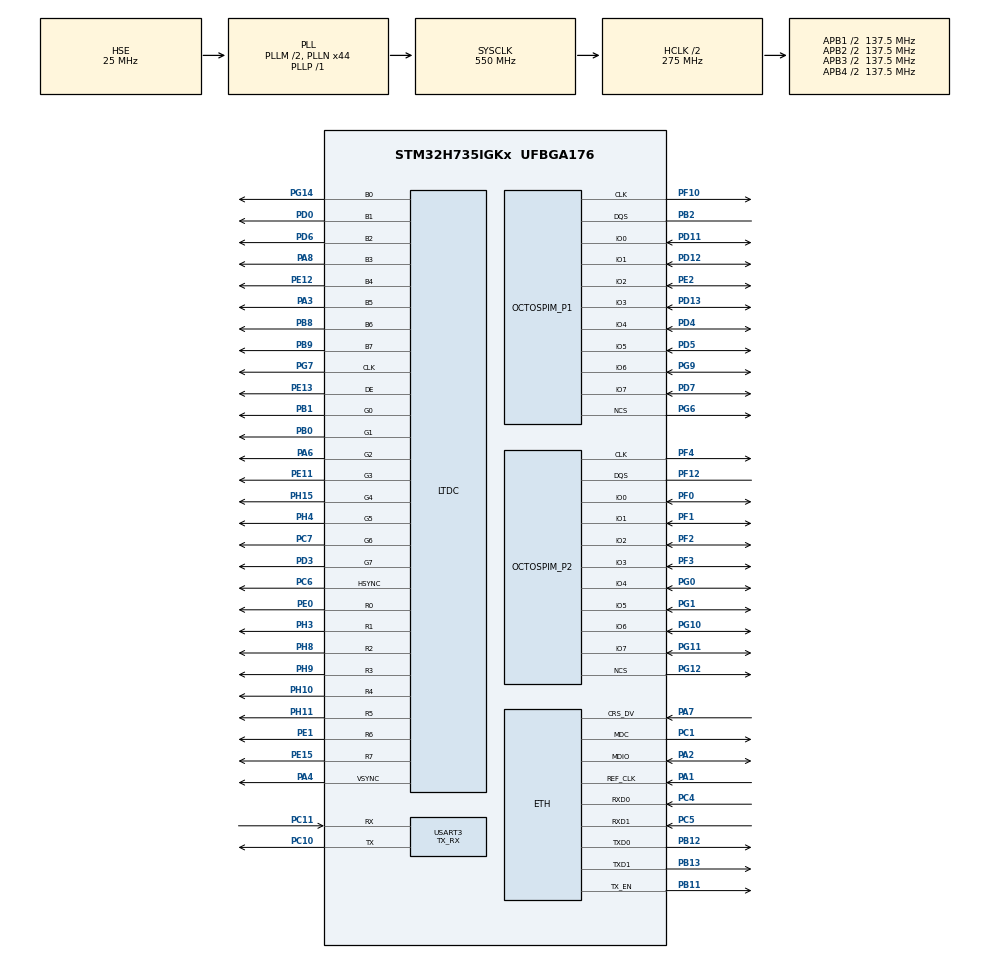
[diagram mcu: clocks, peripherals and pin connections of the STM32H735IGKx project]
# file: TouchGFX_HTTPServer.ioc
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CORTEX_M7.AccessPermission_S-Cortex_Memory_Protection_Unit_Region1_Settings_S=MPU_REGION_FULL_ACCESS
CORTEX_M7.AccessPermission_S-Cortex_Memory_Protection_Unit_Region2_Settings_S=MPU_REGION_FULL_ACCESS
CORTEX_M7.AccessPermission_S-Cortex_Memory_Protection_Unit_Region3_Settings_S=MPU_REGION_FULL_ACCESS
CORTEX_M7.AccessPermission_S-Cortex_Memory_Protection_Unit_Region5_Settings_S=MPU_REGION_FULL_ACCESS
CORTEX_M7.AccessPermission_S-Cortex_Memory_Protection_Unit_Region7_Settings_S=MPU_REGION_FULL_ACCESS
CORTEX_M7.BaseAddress_S-Cortex_Memory_Protection_Unit_Region1_Settings_S=0x30000000
CORTEX_M7.BaseAddress_S-Cortex_Memory_Protection_Unit_Region2_Settings_S=0x30004000
CORTEX_M7.BaseAddress_S-Cortex_Memory_Protection_Unit_Region3_Settings_S=0x24000000
CORTEX_M7.BaseAddress_S-Cortex_Memory_Protection_Unit_Region4_Settings_S=0x70000000
CORTEX_M7.BaseAddress_S-Cortex_Memory_Protection_Unit_Region5_Settings_S=0x70000000
CORTEX_M7.BaseAddress_S-Cortex_Memory_Protection_Unit_Region6_Settings_S=0x90000000
CORTEX_M7.BaseAddress_S-Cortex_Memory_Protection_Unit_Region7_Settings_S=0x90000000
CORTEX_M7.CPU_DCache=Enabled
CORTEX_M7.CPU_ICache=Enabled
CORTEX_M7.DisableExec_S-Cortex_Memory_Protection_Unit_Region3_Settings_S=MPU_INSTRUCTION_ACCESS_DISABLE
CORTEX_M7.DisableExec_S-Cortex_Memory_Protection_Unit_Region4_Settings_S=MPU_INSTRUCTION_ACCESS_DISABLE
CORTEX_M7.DisableExec_S-Cortex_Memory_Protection_Unit_Region5_Settings_S=MPU_INSTRUCTION_ACCESS_DISABLE
CORTEX_M7.DisableExec_S-Cortex_Memory_Protection_Unit_Region6_Settings_S=MPU_INSTRUCTION_ACCESS_DISABLE
CORTEX_M7.Enable_S-Cortex_Memory_Protection_Unit_Region1_Settings_S=MPU_REGION_ENABLE
CORTEX_M7.Enable_S-Cortex_Memory_Protection_Unit_Region2_Settings_S=MPU_REGION_ENABLE
CORTEX_M7.Enable_S-Cortex_Memory_Protection_Unit_Region3_Settings_S=MPU_REGION_ENABLE
CORTEX_M7.Enable_S-Cortex_Memory_Protection_Unit_Region4_Settings_S=MPU_REGION_ENABLE
CORTEX_M7.Enable_S-Cortex_Memory_Protection_Unit_Region5_Settings_S=MPU_REGION_ENABLE
CORTEX_M7.Enable_S-Cortex_Memory_Protection_Unit_Region6_Settings_S=MPU_REGION_ENABLE
CORTEX_M7.Enable_S-Cortex_Memory_Protection_Unit_Region7_Settings_S=MPU_REGION_ENABLE
CORTEX_M7.IsBufferable_S-Cortex_Memory_Protection_Unit_Region1_Settings_S=MPU_ACCESS_BUFFERABLE
CORTEX_M7.IsBufferable_S-Cortex_Memory_Protection_Unit_Region3_Settings_S=MPU_ACCESS_BUFFERABLE
CORTEX_M7.IsBufferable_S-Cortex_Memory_Protection_Unit_Region5_Settings_S=MPU_ACCESS_BUFFERABLE
CORTEX_M7.IsCacheable_S-Cortex_Memory_Protection_Unit_Region3_Settings_S=MPU_ACCESS_CACHEABLE
CORTEX_M7.IsCacheable_S-Cortex_Memory_Protection_Unit_Region5_Settings_S=MPU_ACCESS_CACHEABLE
CORTEX_M7.IsCacheable_S-Cortex_Memory_Protection_Unit_Region7_Settings_S=MPU_ACCESS_CACHEABLE
CORTEX_M7.IsShareable_S-Cortex_Memory_Protection_Unit_Region2_Settings_S=MPU_ACCESS_SHAREABLE
CORTEX_M7.Size_S-Cortex_Memory_Protection_Unit_Region1_Settings_S=MPU_REGION_SIZE_256B
CORTEX_M7.Size_S-Cortex_Memory_Protection_Unit_Region2_Settings_S=MPU_REGION_SIZE_16KB
CORTEX_M7.Size_S-Cortex_Memory_Protection_Unit_Region3_Settings_S=MPU_REGION_SIZE_512KB
CORTEX_M7.Size_S-Cortex_Memory_Protection_Unit_Region4_Settings_S=MPU_REGION_SIZE_512MB
CORTEX_M7.Size_S-Cortex_Memory_Protection_Unit_Region5_Settings_S=MPU_REGION_SIZE_8MB
CORTEX_M7.Size_S-Cortex_Memory_Protection_Unit_Region6_Settings_S=MPU_REGION_SIZE_512MB
CORTEX_M7.Size_S-Cortex_Memory_Protection_Unit_Region7_Settings_S=MPU_REGION_SIZE_64MB
CORTEX_M7.TypeExtField_S-Cortex_Memory_Protection_Unit_Region2_Settings_S=MPU_TEX_LEVEL1
CORTEX_M7.default_mode_Activation=1
DMA2D.ColorMode=DMA2D_OUTPUT_ARGB8888
ETH.MACAddr=00\:08\:E1\:00\:00\:00
ETH.MediaInterface=HAL_ETH_RMII_MODE
ETH.RxBuffLen=1000
FREERTOS.INCLUDE_uxTaskGetStackHighWaterMark2=1
FREERTOS.INCLUDE_vTaskCleanUpResources=1
FREERTOS.Queues01=CounterQueue,16,uint16_t,0,Dynamic,NULL,NULL
FREERTOS.Tasks01=Start,24,256,StartThread,Default,NULL,Dynamic,NULL,NULL;TouchGFXTask,24,1024,TouchGFX_Task,As external,NULL,Dynamic,NULL,NULL
FREERTOS.configENABLE_FPU=1
FREERTOS.configMINIMAL_STACK_SIZE=256
FREERTOS.configTOTAL_HEAP_SIZE=30720
FREERTOS.configUSE_NEWLIB_REENTRANT=1
FREERTOS.configUSE_STATS_FORMATTING_FUNCTIONS=1
LTDC.ActiveH=272
LTDC.ActiveW=480
LTDC.Alpha_L0=255
LTDC.FBStartAdress_L0=0x70000000
LTDC.HBP=13
LTDC.HFP=32
LTDC.HSync=41
LTDC.ImageHeight_L0=272
LTDC.ImageWidth_L0=480
LTDC.Layers=0
LTDC.PixelFormat_L0=LTDC_PIXEL_FORMAT_RGB888
LTDC.VSync=10
LTDC.WindowX1_L0=480
LTDC.WindowY1_L0=272
LWIP.BSP.number=1
LWIP.DEFAULT_THREAD_STACKSIZE=4*512
LWIP.GATEWAY_ADDRESS=192.168.000.001
LWIP.IP_ADDRESS=192.168.000.010
LWIP.LWIP_DHCP=0
LWIP.LWIP_HTTPD=0
LWIP.MEMP_NUM_TCP_PCB=10
LWIP.MEM_SIZE=14*1024
LWIP.NETMASK_ADDRESS=255.255.255.000
LWIP.PBUF_POOL_BUFSIZE=1536
LWIP.TCPIP_THREAD_NAME="TCP/IP"
LWIP.TCPIP_THREAD_STACKSIZE=2*2048
LWIP.TCP_MSS=1460
LWIP.TCP_SND_BUF=5840
LWIP.TCP_SND_QUEUELEN=16
LWIP.TCP_WND=5840
LWIP.Version=v2.1.2_Cube
LWIP0.BSP.STBoard=false
LWIP0.BSP.api=BSP_COMPONENT_DRIVER
LWIP0.BSP.component=LAN8742
LWIP0.BSP.instance=LAN8742
LWIP0.BSP.name=Driver_PHY
LWIP0.BSP.semaphore=S_LAN8742
LWIP0.BSP.solution=LAN8742
Mcu.Family=STM32H7
Mcu.Name=STM32H735IGKx
Mcu.Package=UFBGA176
NVIC.DMA2D_IRQn=true\:5\:0\:false\:false\:true\:true\:true\:true\:true
NVIC.ETH_IRQn=true\:5\:0\:false\:false\:true\:true\:true\:true\:true
NVIC.LTDC_IRQn=true\:5\:0\:false\:false\:true\:true\:true\:true\:true
NVIC.PriorityGroup=NVIC_PRIORITYGROUP_4
NVIC.TIM7_IRQn=true\:15\:0\:false\:false\:true\:false\:false\:true\:true
NVIC.TimeBase=TIM7_IRQn
NVIC.TimeBaseIP=TIM7
OCTOSPI1.ChipSelectHighTime=2
OCTOSPI1.ClockPrescaler=2
OCTOSPI1.FifoThreshold=4
OCTOSPI1.MemoryType=HAL_OSPI_MEMTYPE_MACRONIX
OCTOSPI2.AccessTime=6
OCTOSPI2.ChipSelectBoundary=23
OCTOSPI2.ChipSelectHighTime=4
OCTOSPI2.ClockPrescaler=2
OCTOSPI2.DelayBlockBypass=HAL_OSPI_DELAY_BLOCK_USED
OCTOSPI2.DelayHoldQuarterCycle=HAL_OSPI_DHQC_ENABLE
OCTOSPI2.DeviceSize=24
OCTOSPI2.FifoThreshold=4
OCTOSPI2.LatencyMode=HAL_OSPI_FIXED_LATENCY
OCTOSPI2.RWRecoveryTime=3
OCTOSPI2.Refresh=400
OCTOSPI2.WriteZeroLatency=HAL_OSPI_LATENCY_ON_WRITE
PA1.GPIO_Speed=GPIO_SPEED_FREQ_HIGH
PA1.Mode=RMII
PA1.Signal=ETH_REF_CLK
PA2.GPIO_Speed=GPIO_SPEED_FREQ_HIGH
PA2.Mode=RMII
PA2.Signal=ETH_MDIO
PA3.GPIO_Speed=GPIO_SPEED_FREQ_VERY_HIGH
PA3.Mode=RGB888
PA3.Signal=LTDC_B5
PA4.GPIO_Speed=GPIO_SPEED_FREQ_VERY_HIGH
PA4.Mode=RGB888
PA4.Signal=LTDC_VSYNC
PA6.GPIO_Speed=GPIO_SPEED_FREQ_VERY_HIGH
PA6.Mode=RGB888
PA6.Signal=LTDC_G2
PA7.GPIO_Speed=GPIO_SPEED_FREQ_HIGH
PA7.Mode=RMII
PA7.Signal=ETH_CRS_DV
PA8.GPIO_Speed=GPIO_SPEED_FREQ_VERY_HIGH
PA8.Mode=RGB888
PA8.Signal=LTDC_B3
PB0.GPIO_Speed=GPIO_SPEED_FREQ_VERY_HIGH
PB0.Mode=RGB888
PB0.Signal=LTDC_G1
PB1.GPIO_Speed=GPIO_SPEED_FREQ_VERY_HIGH
PB1.Mode=RGB888
PB1.Signal=LTDC_G0
PB11.GPIO_Speed=GPIO_SPEED_FREQ_HIGH
PB11.Mode=RMII
PB11.Signal=ETH_TX_EN
PB12.GPIO_Speed=GPIO_SPEED_FREQ_HIGH
PB12.Mode=RMII
PB12.Signal=ETH_TXD0
PB13.GPIO_Speed=GPIO_SPEED_FREQ_HIGH
PB13.Mode=RMII
PB13.Signal=ETH_TXD1
PB2.Mode=OCTOSPI1_Port1_DQS
PB2.Signal=OCTOSPIM_P1_DQS
PB8.GPIO_Speed=GPIO_SPEED_FREQ_VERY_HIGH
PB8.Mode=RGB888
PB8.Signal=LTDC_B6
PB9.GPIO_Speed=GPIO_SPEED_FREQ_VERY_HIGH
PB9.Mode=RGB888
PB9.Signal=LTDC_B7
PC1.GPIO_Speed=GPIO_SPEED_FREQ_HIGH
PC1.Mode=RMII
PC1.Signal=ETH_MDC
PC10.GPIO_Speed=GPIO_SPEED_FREQ_HIGH
PC10.Mode=Asynchronous
PC10.Signal=USART3_TX
PC11.GPIO_Speed=GPIO_SPEED_FREQ_HIGH
PC11.Mode=Asynchronous
PC11.Signal=USART3_RX
PC4.GPIO_Speed=GPIO_SPEED_FREQ_HIGH
PC4.Mode=RMII
PC4.Signal=ETH_RXD0
PC5.GPIO_Speed=GPIO_SPEED_FREQ_HIGH
PC5.Mode=RMII
PC5.Signal=ETH_RXD1
PC6.GPIO_Speed=GPIO_SPEED_FREQ_VERY_HIGH
PC6.Mode=RGB888
PC6.Signal=LTDC_HSYNC
PC7.GPIO_Speed=GPIO_SPEED_FREQ_VERY_HIGH
PC7.Mode=RGB888
PC7.Signal=LTDC_G6
PD0.GPIO_Speed=GPIO_SPEED_FREQ_VERY_HIGH
PD0.Mode=RGB888
PD0.Signal=LTDC_B1
PD11.Mode=OCTOSPI1_IOL_Port1L
PD11.Signal=OCTOSPIM_P1_IO0
PD12.Mode=OCTOSPI1_IOL_Port1L
PD12.Signal=OCTOSPIM_P1_IO1
PD13.Mode=OCTOSPI1_IOL_Port1L
PD13.Signal=OCTOSPIM_P1_IO3
PD3.GPIO_Speed=GPIO_SPEED_FREQ_VERY_HIGH
PD3.Mode=RGB888
PD3.Signal=LTDC_G7
PD4.Mode=OCTOSPI1_IOH_Port1H
PD4.Signal=OCTOSPIM_P1_IO4
PD5.Mode=OCTOSPI1_IOH_Port1H
PD5.Signal=OCTOSPIM_P1_IO5
PD6.GPIO_Speed=GPIO_SPEED_FREQ_VERY_HIGH
PD6.Mode=RGB888
PD6.Signal=LTDC_B2
PD7.Mode=OCTOSPI1_IOH_Port1H
PD7.Signal=OCTOSPIM_P1_IO7
PE0.GPIO_Speed=GPIO_SPEED_FREQ_VERY_HIGH
PE0.Mode=RGB888
PE0.Signal=LTDC_R0
PE1.GPIO_Speed=GPIO_SPEED_FREQ_VERY_HIGH
PE1.Mode=RGB888
PE1.Signal=LTDC_R6
PE11.GPIO_Speed=GPIO_SPEED_FREQ_VERY_HIGH
PE11.Mode=RGB888
PE11.Signal=LTDC_G3
PE12.GPIO_Speed=GPIO_SPEED_FREQ_VERY_HIGH
PE12.Mode=RGB888
PE12.Signal=LTDC_B4
PE13.GPIO_Speed=GPIO_SPEED_FREQ_VERY_HIGH
PE13.Mode=RGB888
PE13.Signal=LTDC_DE
PE15.GPIO_Speed=GPIO_SPEED_FREQ_VERY_HIGH
PE15.Mode=RGB888
PE15.Signal=LTDC_R7
PE2.Mode=OCTOSPI1_IOL_Port1L
PE2.Signal=OCTOSPIM_P1_IO2
PF0.Mode=OCTOSPI2_IOL_Port2L
PF0.Signal=OCTOSPIM_P2_IO0
PF1.Mode=OCTOSPI2_IOL_Port2L
PF1.Signal=OCTOSPIM_P2_IO1
PF10.Mode=O1_P1_CLK
PF10.Signal=OCTOSPIM_P1_CLK
PF12.Mode=OCTOSPI2_Port2_DQS
PF12.Signal=OCTOSPIM_P2_DQS
PF2.Mode=OCTOSPI2_IOL_Port2L
PF2.Signal=OCTOSPIM_P2_IO2
PF3.Mode=OCTOSPI2_IOL_Port2L
PF3.Signal=OCTOSPIM_P2_IO3
PF4.Mode=O2_P2_CLK
PF4.Signal=OCTOSPIM_P2_CLK
PG0.Mode=OCTOSPI2_IOH_Port2H
PG0.Signal=OCTOSPIM_P2_IO4
PG1.Mode=OCTOSPI2_IOH_Port2H
PG1.Signal=OCTOSPIM_P2_IO5
PG10.Mode=OCTOSPI2_IOH_Port2H
PG10.Signal=OCTOSPIM_P2_IO6
PG11.Mode=OCTOSPI2_IOH_Port2H
PG11.Signal=OCTOSPIM_P2_IO7
PG12.Mode=OCTOSPI2_Port2_NCS
PG12.Signal=OCTOSPIM_P2_NCS
PG14.GPIO_Speed=GPIO_SPEED_FREQ_VERY_HIGH
PG14.Mode=RGB888
PG14.Signal=LTDC_B0
PG6.Mode=OCTOSPI1_Port1_NCS
PG6.Signal=OCTOSPIM_P1_NCS
PG7.GPIO_Speed=GPIO_SPEED_FREQ_VERY_HIGH
PG7.Mode=RGB888
PG7.Signal=LTDC_CLK
PG9.Mode=OCTOSPI1_IOH_Port1H
PG9.Signal=OCTOSPIM_P1_IO6
PH0-OSC_IN.Mode=HSE-External-Clock-Source
PH0-OSC_IN.Signal=RCC_OSC_IN
PH10.GPIO_Speed=GPIO_SPEED_FREQ_VERY_HIGH
PH10.Mode=RGB888
PH10.Signal=LTDC_R4
PH11.GPIO_Speed=GPIO_SPEED_FREQ_VERY_HIGH
PH11.Mode=RGB888
PH11.Signal=LTDC_R5
PH15.GPIO_Speed=GPIO_SPEED_FREQ_VERY_HIGH
PH15.Mode=RGB888
PH15.Signal=LTDC_G4
PH3.GPIO_Speed=GPIO_SPEED_FREQ_VERY_HIGH
PH3.Mode=RGB888
PH3.Signal=LTDC_R1
PH4.GPIO_Speed=GPIO_SPEED_FREQ_VERY_HIGH
PH4.Mode=RGB888
PH4.Signal=LTDC_G5
PH8.GPIO_Speed=GPIO_SPEED_FREQ_VERY_HIGH
PH8.Mode=RGB888
PH8.Signal=LTDC_R2
PH9.GPIO_Speed=GPIO_SPEED_FREQ_VERY_HIGH
PH9.Mode=RGB888
PH9.Signal=LTDC_R3
ProjectManager.HeapSize=0x1000
ProjectManager.StackSize=0x1000
ProjectManager.TargetToolchain=STM32CubeIDE
RCC.ADCFreq_Value=200000000
RCC.APB1Freq_Value=137500000
RCC.APB2Freq_Value=137500000
RCC.APB3Freq_Value=137500000
RCC.APB4Freq_Value=137500000
RCC.CortexFreq_Value=550000000
RCC.D1PPRE=RCC_APB3_DIV2
RCC.D2PPRE1=RCC_APB1_DIV2
RCC.D2PPRE2=RCC_APB2_DIV2
RCC.D3PPRE=RCC_APB4_DIV2
RCC.DIVM1=2
RCC.DIVM2=5
RCC.DIVM3=25
RCC.DIVN1=44
RCC.DIVN2=80
RCC.DIVN3=288
RCC.DIVP1=1
RCC.DIVR3=30
RCC.HCLKFreq_Value=275000000
RCC.HPRE=RCC_HCLK_DIV2
RCC.PLLSourceVirtual=RCC_PLLSOURCE_HSE
RCC.QSPICLockSelection=RCC_OSPICLKSOURCE_PLL2
RCC.SYSCLKFreq_VALUE=550000000
RCC.SYSCLKSource=RCC_SYSCLKSOURCE_PLLCLK
RCC.USBFreq_Value=275000000
STMicroelectronics.X-CUBE-TOUCHGFX.4.24.1.ApplicationCcGraphicsJjApplication=TouchGFXOoGenerator
STMicroelectronics.X-CUBE-TOUCHGFX.4.24.1.tgfx_buffering_strategy=Double
STMicroelectronics.X-CUBE-TOUCHGFX.4.24.1.tgfx_display_interface=disp_ltdc
STMicroelectronics.X-CUBE-TOUCHGFX.4.24.1.tgfx_hardware_accelerator=dma_2d
STMicroelectronics.X-CUBE-TOUCHGFX.4.24.1.tgfx_vsync=vsync_ltdc
STMicroelectronics.X-CUBE-TOUCHGFX.4.24.1_IsPackSelfContextualization=true
USART3.Mode=MODE_TX_RX
USART3.VirtualMode-Asynchronous=VM_ASYNC
VP_CRC_VS_CRC.Mode=CRC_Activate
VP_DMA2D_VS_DMA2D.Mode=DMA2D_Activate
VP_FREERTOS_VS_CMSIS_V2.Mode=CMSIS_V2
VP_LWIP_VS_Enabled.Mode=Enabled
VP_MEMORYMAP_VS_MEMORYMAP.Mode=CurAppReg
VP_OCTOSPI1_VS_octo.Mode=octo_mode
VP_OCTOSPI2_VS_octo.Mode=hyperbus_mode
VP_STMicroelectronics.X-CUBE-TOUCHGFX_VS_GraphicsJjApplication_4.24.1.Mode=GraphicsJjApplication
VP_SYS_VS_tim7.Mode=TIM7
board=custom

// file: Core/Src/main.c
/* USER CODE BEGIN Header */
/**
  ******************************************************************************
  * @file           : main.c
  * @brief          : Main program body
  ******************************************************************************
  * @attention
  *
  * Copyright (c) 2024 STMicroelectronics.
  * All rights reserved.
  *
  * This software is licensed under terms that can be found in the LICENSE file
  * in the root directory of this software component.
  * If no LICENSE file comes with this software, it is provided AS-IS.
  *
  ******************************************************************************
  */
/* USER CODE END Header */
#include "main.h"
#include "cmsis_os.h"
#include "crc.h"
#include "dma2d.h"
#include "ltdc.h"
#include "lwip.h"
#include "memorymap.h"
#include "octospi.h"
#include "usart.h"
#include "gpio.h"
#include "app_touchgfx.h"

void SystemClock_Config(void);
void PeriphCommonClock_Config(void);
static void MPU_Config(void);
void MX_FREERTOS_Init(void);
/* USER CODE BEGIN PFP */
#if defined(__ICCARM__)
/* New definition from EWARM V9, compatible with EWARM8 */
int iar_fputc(int ch);
#define PUTCHAR_PROTOTYPE int iar_fputc(int ch)
#elif defined ( __CC_ARM ) || defined(__ARMCC_VERSION)
/* ARM Compiler 5/6*/
#define PUTCHAR_PROTOTYPE int fputc(int ch, FILE *f)
#elif defined(__GNUC__)
#define PUTCHAR_PROTOTYPE int __io_putchar(int ch)
#endif /* __ICCARM__ */
/* USER CODE END PFP */

int main(void)
{

  /* MPU Configuration--------------------------------------------------------*/
  MPU_Config();

  /* Enable the CPU Cache */

  /* Enable I-Cache---------------------------------------------------------*/
  SCB_EnableICache();

  /* Enable D-Cache---------------------------------------------------------*/
  SCB_EnableDCache();

  /* MCU Configuration--------------------------------------------------------*/

  /* Reset of all peripherals, Initializes the Flash interface and the Systick. */
  HAL_Init();

  /* Configure the system clock */
  SystemClock_Config();

  /* Configure the peripherals common clocks */
  PeriphCommonClock_Config();

  /* Initialize all configured peripherals */
  MX_GPIO_Init();
  MX_USART3_UART_Init();
  MX_DMA2D_Init();
  MX_LTDC_Init();
  MX_OCTOSPI1_Init();
  MX_OCTOSPI2_Init();
  MX_CRC_Init();
  MX_TouchGFX_Init();
  /* Call PreOsInit function */
  MX_TouchGFX_PreOSInit();

  /* Init scheduler */
  osKernelInitialize();

  /* Call init function for freertos objects (in cmsis_os2.c) */
  MX_FREERTOS_Init();

  /* Start scheduler */
  osKernelStart();

  /* We should never get here as control is now taken by the scheduler */

  /* Infinite loop */
  while (1)
  {

  }
}

void SystemClock_Config(void)
{
  RCC_OscInitTypeDef RCC_OscInitStruct = {0};
  RCC_ClkInitTypeDef RCC_ClkInitStruct = {0};

  /** Supply configuration update enable
  */
  HAL_PWREx_ConfigSupply(PWR_DIRECT_SMPS_SUPPLY);

  /** Configure the main internal regulator output voltage
  */
  __HAL_PWR_VOLTAGESCALING_CONFIG(PWR_REGULATOR_VOLTAGE_SCALE0);

  while(!__HAL_PWR_GET_FLAG(PWR_FLAG_VOSRDY)) {}

  /** Initializes the RCC Oscillators according to the specified parameters
  * in the RCC_OscInitTypeDef structure.
  */
  RCC_OscInitStruct.OscillatorType = RCC_OSCILLATORTYPE_HSE;
  RCC_OscInitStruct.HSEState = RCC_HSE_BYPASS;
  RCC_OscInitStruct.PLL.PLLState = RCC_PLL_ON;
  RCC_OscInitStruct.PLL.PLLSource = RCC_PLLSOURCE_HSE;
  RCC_OscInitStruct.PLL.PLLM = 2;
  RCC_OscInitStruct.PLL.PLLN = 44;
  RCC_OscInitStruct.PLL.PLLP = 1;
  RCC_OscInitStruct.PLL.PLLQ = 2;
  RCC_OscInitStruct.PLL.PLLR = 2;
  RCC_OscInitStruct.PLL.PLLRGE = RCC_PLL1VCIRANGE_3;
  RCC_OscInitStruct.PLL.PLLVCOSEL = RCC_PLL1VCOWIDE;
  RCC_OscInitStruct.PLL.PLLFRACN = 0;
  if (HAL_RCC_OscConfig(&RCC_OscInitStruct) != HAL_OK)
  {
    Error_Handler();
  }

  /** Initializes the CPU, AHB and APB buses clocks
  */
  RCC_ClkInitStruct.ClockType = RCC_CLOCKTYPE_HCLK|RCC_CLOCKTYPE_SYSCLK
                              |RCC_CLOCKTYPE_PCLK1|RCC_CLOCKTYPE_PCLK2
                              |RCC_CLOCKTYPE_D3PCLK1|RCC_CLOCKTYPE_D1PCLK1;
  RCC_ClkInitStruct.SYSCLKSource = RCC_SYSCLKSOURCE_PLLCLK;
  RCC_ClkInitStruct.SYSCLKDivider = RCC_SYSCLK_DIV1;
  RCC_ClkInitStruct.AHBCLKDivider = RCC_HCLK_DIV2;
  RCC_ClkInitStruct.APB3CLKDivider = RCC_APB3_DIV2;
  RCC_ClkInitStruct.APB1CLKDivider = RCC_APB1_DIV2;
  RCC_ClkInitStruct.APB2CLKDivider = RCC_APB2_DIV2;
  RCC_ClkInitStruct.APB4CLKDivider = RCC_APB4_DIV2;

  if (HAL_RCC_ClockConfig(&RCC_ClkInitStruct, FLASH_LATENCY_3) != HAL_OK)
  {
    Error_Handler();
  }
}

void PeriphCommonClock_Config(void)
{
  RCC_PeriphCLKInitTypeDef PeriphClkInitStruct = {0};

  /** Initializes the peripherals clock
  */
  PeriphClkInitStruct.PeriphClockSelection = RCC_PERIPHCLK_OSPI;
  PeriphClkInitStruct.PLL2.PLL2M = 5;
  PeriphClkInitStruct.PLL2.PLL2N = 80;
  PeriphClkInitStruct.PLL2.PLL2P = 2;
  PeriphClkInitStruct.PLL2.PLL2Q = 2;
  PeriphClkInitStruct.PLL2.PLL2R = 2;
  PeriphClkInitStruct.PLL2.PLL2RGE = RCC_PLL2VCIRANGE_2;
  PeriphClkInitStruct.PLL2.PLL2VCOSEL = RCC_PLL2VCOWIDE;
  PeriphClkInitStruct.PLL2.PLL2FRACN = 0;
  PeriphClkInitStruct.OspiClockSelection = RCC_OSPICLKSOURCE_PLL2;
  if (HAL_RCCEx_PeriphCLKConfig(&PeriphClkInitStruct) != HAL_OK)
  {
    Error_Handler();
  }
}

/* USER CODE BEGIN 4 */
#if defined(__ICCARM__)
size_t __write(int file, unsigned char const *ptr, size_t len)
{
  size_t idx;
  unsigned char const *pdata = ptr;

  for (idx = 0; idx < len; idx++)
  {
    iar_fputc((int)*pdata);
    pdata++;
  }
  return len;
}
#endif /* __ICCARM__ */

/**
  * @brief  Retargets the C library printf function to the USART.
  * @param  None
  * @retval None
  */
PUTCHAR_PROTOTYPE
{
  /* Place your implementation of putchar here */
  /* e.g. write a character to the USART3 and Loop until the end of transmission */
  HAL_UART_Transmit(&huart3, (uint8_t *)&ch, 1, 0xFFFF);

  return ch;
}
/* USER CODE END 4 */

 /* MPU Configuration */

void MPU_Config(void)
{
  MPU_Region_InitTypeDef MPU_InitStruct = {0};

  /* Disables the MPU */
  HAL_MPU_Disable();

  /** Initializes and configures the Region and the memory to be protected
  */
  MPU_InitStruct.Enable = MPU_REGION_ENABLE;
  MPU_InitStruct.Number = MPU_REGION_NUMBER0;
  MPU_InitStruct.BaseAddress = 0x0;
  MPU_InitStruct.Size = MPU_REGION_SIZE_4GB;
  MPU_InitStruct.SubRegionDisable = 0x87;
  MPU_InitStruct.TypeExtField = MPU_TEX_LEVEL0;
  MPU_InitStruct.AccessPermission = MPU_REGION_NO_ACCESS;
  MPU_InitStruct.DisableExec = MPU_INSTRUCTION_ACCESS_DISABLE;
  MPU_InitStruct.IsShareable = MPU_ACCESS_SHAREABLE;
  MPU_InitStruct.IsCacheable = MPU_ACCESS_NOT_CACHEABLE;
  MPU_InitStruct.IsBufferable = MPU_ACCESS_NOT_BUFFERABLE;

  HAL_MPU_ConfigRegion(&MPU_InitStruct);

  /** Initializes and configures the Region and the memory to be protected
  */
  MPU_InitStruct.Number = MPU_REGION_NUMBER1;
  MPU_InitStruct.BaseAddress = 0x30000000;
  MPU_InitStruct.Size = MPU_REGION_SIZE_256B;
  MPU_InitStruct.SubRegionDisable = 0x0;
  MPU_InitStruct.AccessPermission = MPU_REGION_FULL_ACCESS;
  MPU_InitStruct.DisableExec = MPU_INSTRUCTION_ACCESS_ENABLE;
  MPU_InitStruct.IsShareable = MPU_ACCESS_NOT_SHAREABLE;
  MPU_InitStruct.IsBufferable = MPU_ACCESS_BUFFERABLE;

  HAL_MPU_ConfigRegion(&MPU_InitStruct);

  /** Initializes and configures the Region and the memory to be protected
  */
  MPU_InitStruct.Number = MPU_REGION_NUMBER2;
  MPU_InitStruct.BaseAddress = 0x30004000;
  MPU_InitStruct.Size = MPU_REGION_SIZE_16KB;
  MPU_InitStruct.TypeExtField = MPU_TEX_LEVEL1;
  MPU_InitStruct.IsShareable = MPU_ACCESS_SHAREABLE;
  MPU_InitStruct.IsBufferable = MPU_ACCESS_NOT_BUFFERABLE;

  HAL_MPU_ConfigRegion(&MPU_InitStruct);

  /** Initializes and configures the Region and the memory to be protected
  */
  MPU_InitStruct.Number = MPU_REGION_NUMBER3;
  MPU_InitStruct.BaseAddress = 0x24000000;
  MPU_InitStruct.Size = MPU_REGION_SIZE_512KB;
  MPU_InitStruct.TypeExtField = MPU_TEX_LEVEL0;
  MPU_InitStruct.DisableExec = MPU_INSTRUCTION_ACCESS_DISABLE;
  MPU_InitStruct.IsShareable = MPU_ACCESS_NOT_SHAREABLE;
  MPU_InitStruct.IsCacheable = MPU_ACCESS_CACHEABLE;
  MPU_InitStruct.IsBufferable = MPU_ACCESS_BUFFERABLE;

  HAL_MPU_ConfigRegion(&MPU_InitStruct);

  /** Initializes and configures the Region and the memory to be protected
  */
  MPU_InitStruct.Number = MPU_REGION_NUMBER4;
  MPU_InitStruct.BaseAddress = 0x70000000;
  MPU_InitStruct.Size = MPU_REGION_SIZE_512MB;
  MPU_InitStruct.AccessPermission = MPU_REGION_NO_ACCESS;
  MPU_InitStruct.IsCacheable = MPU_ACCESS_NOT_CACHEABLE;
  MPU_InitStruct.IsBufferable = MPU_ACCESS_NOT_BUFFERABLE;

  HAL_MPU_ConfigRegion(&MPU_InitStruct);

  /** Initializes and configures the Region and the memory to be protected
  */
  MPU_InitStruct.Number = MPU_REGION_NUMBER5;
  MPU_InitStruct.Size = MPU_REGION_SIZE_8MB;
  MPU_InitStruct.AccessPermission = MPU_REGION_FULL_ACCESS;
  MPU_InitStruct.IsCacheable = MPU_ACCESS_CACHEABLE;
  MPU_InitStruct.IsBufferable = MPU_ACCESS_BUFFERABLE;

  HAL_MPU_ConfigRegion(&MPU_InitStruct);

  /** Initializes and configures the Region and the memory to be protected
  */
  MPU_InitStruct.Number = MPU_REGION_NUMBER6;
  MPU_InitStruct.BaseAddress = 0x90000000;
  MPU_InitStruct.Size = MPU_REGION_SIZE_512MB;
  MPU_InitStruct.AccessPermission = MPU_REGION_NO_ACCESS;
  MPU_InitStruct.IsCacheable = MPU_ACCESS_NOT_CACHEABLE;
  MPU_InitStruct.IsBufferable = MPU_ACCESS_NOT_BUFFERABLE;

  HAL_MPU_ConfigRegion(&MPU_InitStruct);

  /** Initializes and configures the Region and the memory to be protected
  */
  MPU_InitStruct.Number = MPU_REGION_NUMBER7;
  MPU_InitStruct.Size = MPU_REGION_SIZE_64MB;
  MPU_InitStruct.AccessPermission = MPU_REGION_FULL_ACCESS;
  MPU_InitStruct.DisableExec = MPU_INSTRUCTION_ACCESS_ENABLE;
  MPU_InitStruct.IsCacheable = MPU_ACCESS_CACHEABLE;

  HAL_MPU_ConfigRegion(&MPU_InitStruct);
  /* Enables the MPU */
  HAL_MPU_Enable(MPU_PRIVILEGED_DEFAULT);

}

void HAL_TIM_PeriodElapsedCallback(TIM_HandleTypeDef *htim)
{
  if (htim->Instance == TIM7) {
    HAL_IncTick();
  }
}

void Error_Handler(void)
{
  __disable_irq();
  while (1)
  {
  }
}

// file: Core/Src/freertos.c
/* USER CODE BEGIN Header */
/**
  ******************************************************************************
  * File Name          : freertos.c
  * Description        : Code for freertos applications
  ******************************************************************************
  * @attention
  *
  * Copyright (c) 2024 STMicroelectronics.
  * All rights reserved.
  *
  * This software is licensed under terms that can be found in the LICENSE file
  * in the root directory of this software component.
  * If no LICENSE file comes with this software, it is provided AS-IS.
  *
  ******************************************************************************
  */
/* USER CODE END Header */

#include "FreeRTOS.h"
#include "task.h"
#include "main.h"
#include "cmsis_os.h"

/* USER CODE BEGIN Includes */
#include "lwip.h"
/* USER CODE END Includes */

/* Definitions for Start */
osThreadId_t StartHandle;
const osThreadAttr_t Start_attributes = {
  .name = "Start",
  .stack_size = 256 * 4,
  .priority = (osPriority_t) osPriorityNormal,
};
/* Definitions for TouchGFXTask */
osThreadId_t TouchGFXTaskHandle;
const osThreadAttr_t TouchGFXTask_attributes = {
  .name = "TouchGFXTask",
  .stack_size = 1024 * 4,
  .priority = (osPriority_t) osPriorityNormal,
};
/* Definitions for CounterQueue */
osMessageQueueId_t CounterQueueHandle;
const osMessageQueueAttr_t CounterQueue_attributes = {
  .name = "CounterQueue"
};

void StartThread(void *argument);
extern void TouchGFX_Task(void *argument);

extern void MX_LWIP_Init(void);
void MX_FREERTOS_Init(void); /* (MISRA C 2004 rule 8.1) */

void MX_FREERTOS_Init(void) {

  /* Create the queue(s) */
  /* creation of CounterQueue */
  CounterQueueHandle = osMessageQueueNew (16, sizeof(uint16_t), &CounterQueue_attributes);

  /* Create the thread(s) */
  /* creation of Start */
  StartHandle = osThreadNew(StartThread, NULL, &Start_attributes);

  /* creation of TouchGFXTask */
  TouchGFXTaskHandle = osThreadNew(TouchGFX_Task, NULL, &TouchGFXTask_attributes);

}

void StartThread(void *argument)
{
  /* init code for LWIP */
  MX_LWIP_Init();
  /* USER CODE BEGIN StartThread */

  /* Initialize webserver */
  http_server_socket_init();
  /* Infinite loop */
  for(;;)
  {
    /* Delete the Init Thread */
    osThreadTerminate(StartHandle);
  }
  /* USER CODE END StartThread */
}
